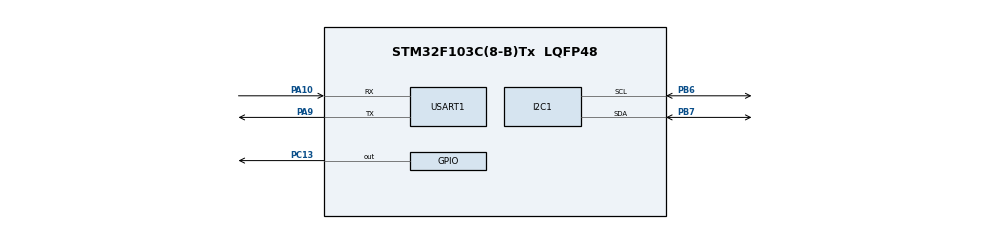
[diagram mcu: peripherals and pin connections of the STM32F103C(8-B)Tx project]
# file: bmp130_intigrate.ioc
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Mcu.Family=STM32F1
Mcu.Name=STM32F103C(8-B)Tx
Mcu.Package=LQFP48
NVIC.PriorityGroup=NVIC_PRIORITYGROUP_4
PA10.Mode=Asynchronous
PA10.Signal=USART1_RX
PA9.Mode=Asynchronous
PA9.Signal=USART1_TX
PB6.Mode=I2C
PB6.Signal=I2C1_SCL
PB7.Mode=I2C
PB7.Signal=I2C1_SDA
PC13-TAMPER-RTC.Signal=GPIO_Output
ProjectManager.HeapSize=0x200
ProjectManager.StackSize=0x400
ProjectManager.TargetToolchain=MDK-ARM V5
RCC.APB1Freq_Value=8000000
RCC.APB2Freq_Value=8000000
USART1.VirtualMode=VM_ASYNC
VP_SYS_VS_ND.Mode=No_Debug
board=bmp130_intigrate

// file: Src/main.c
/**
 ******************************************************************************
  * File Name          : main.c
  * Description        : Main program body
  * Author             : Ashish Kumar Verma
  * Date               : 21-01-2020
  * Contact            : Ashish2614@gmail.com
  ******************************************************************************
  ** This notice applies to any and all portions of this file
  * that are not between comment pairs USER CODE BEGIN and
  * USER CODE END. Other portions of this file, whether
  * inserted by the user or by software development tools
  * are owned by their respective copyright owners.
  *
  * COPYRIGHT(c) 2020 STMicroelectronics
  *
  * Redistribution and use in source and binary forms, with or without modification,
  * are permitted provided that the following conditions are met:
  *   1. Redistributions of source code must retain the above copyright notice,
  *      this list of conditions and the following disclaimer.
  *   2. Redistributions in binary form must reproduce the above copyright notice,
  *      this list of conditions and the following disclaimer in the documentation
  *      and/or other materials provided with the distribution.
  *   3. Neither the name of STMicroelectronics nor the names of its contributors
  *      may be used to endorse or promote products derived from this software
  *      without specific prior written permission.
  *
  * THIS SOFTWARE IS PROVIDED BY THE COPYRIGHT HOLDERS AND CONTRIBUTORS "AS IS"
  * AND ANY EXPRESS OR IMPLIED WARRANTIES, INCLUDING, BUT NOT LIMITED TO, THE
  * IMPLIED WARRANTIES OF MERCHANTABILITY AND FITNESS FOR A PARTICULAR PURPOSE ARE
  * DISCLAIMED. IN NO EVENT SHALL THE COPYRIGHT HOLDER OR CONTRIBUTORS BE LIABLE
  * FOR ANY DIRECT, INDIRECT, INCIDENTAL, SPECIAL, EXEMPLARY, OR CONSEQUENTIAL
  * DAMAGES (INCLUDING, BUT NOT LIMITED TO, PROCUREMENT OF SUBSTITUTE GOODS OR
  * SERVICES; LOSS OF USE, DATA, OR PROFITS; OR BUSINESS INTERRUPTION) HOWEVER
  * CAUSED AND ON ANY THEORY OF LIABILITY, WHETHER IN CONTRACT, STRICT LIABILITY,
  * OR TORT (INCLUDING NEGLIGENCE OR OTHERWISE) ARISING IN ANY WAY OUT OF THE USE
  * OF THIS SOFTWARE, EVEN IF ADVISED OF THE POSSIBILITY OF SUCH DAMAGE.
  *
  ******************************************************************************
  */
#include "main.h"
#include "stm32f1xx_hal.h"
#include "math.h"

/* USER CODE BEGIN Includes */

#define BMP180_ADDR 0xEE                    // 7-bit address
#define BMP180_REG_CONTROL 0xF4
#define BMP180_REG_RESULT 0xF6
#define BMP180_COMMAND_TEMPERATURE 0x2E
#define BMP180_COMMAND_PRESSURE 0x34       //0x34 0x74 0xB4 0xF4
/* USER CODE END Includes */

I2C_HandleTypeDef hi2c1;

UART_HandleTypeDef huart1;

/* USER CODE BEGIN PV */
/* Private variables ---------------------------------------------------------*/

/* USER CODE END PV */

void SystemClock_Config(void);
static void MX_GPIO_Init(void);
static void MX_I2C1_Init(void);
static void MX_USART1_UART_Init(void);

/* USER CODE BEGIN PFP */
/* Private function prototypes -----------------------------------------------*/
char begin(void);
char readCompData(char address);
double calculatePressure(double up,double T);
double calculateTemperature(double ut);
char measureParameters(double *P, double *T);

/* USER CODE END PFP */

/* USER CODE BEGIN 0 */

uint16_t unSignedIntTempVar,AC4,AC5,AC6;
int16_t signedIntTempVar,AC1,AC2,AC3,VB1,VB2,MB,MC,MD;
char buf[20];
double c5,c6,mc,md,x0,x1,x2,y0,y1,y2,p0,p1,p2;

/* USER CODE END 0 */

int main(void)
{

  /* MCU Configuration----------------------------------------------------------*/

  /* Reset of all peripherals, Initializes the Flash interface and the Systick. */
  HAL_Init();

  /* Configure the system clock */
  SystemClock_Config();

  /* Initialize all configured peripherals */
  MX_GPIO_Init();
  MX_I2C1_Init();
  MX_USART1_UART_Init();

  /* USER CODE BEGIN 2 */
	HAL_UART_Transmit(&huart1,(uint8_t*)"REBOOT\r\n",sizeof("REBOOT\r\n"),100);
	if (begin())
			HAL_UART_Transmit(&huart1,(uint8_t*)"BMP180 init success\r\n",sizeof("BMP180 init success\r\n"),100);
  else{
		HAL_UART_Transmit(&huart1,(uint8_t*)"BMP180 init fail\r\n\n",sizeof("BMP180 init fail\r\n\n"),100);
    while(1);
  }

  /* USER CODE END 2 */

  /* Infinite loop */
  while (1)
  {

  /* USER CODE BEGIN 3 */
    double T,P,p0,A;

    if (measureParameters(&P, &T) != 0){

				HAL_UART_Transmit(&huart1,(uint8_t*)"temperature: ",sizeof("temperature: "),100);
			  sprintf(buf,"%0.2lf",T);
        HAL_UART_Transmit(&huart1,(uint8_t*)buf,sizeof(buf),100);
			  HAL_UART_Transmit(&huart1,(uint8_t*)" deg C, ",sizeof(" deg C, "),100);
        sprintf(buf,"%0.2lf",(9.0/5.0)*T+32.0);
				HAL_UART_Transmit(&huart1,(uint8_t*)buf,sizeof(buf),100);
			  HAL_UART_Transmit(&huart1,(uint8_t*)" deg F\r\n",sizeof(" deg F\r\n"),100);

				HAL_UART_Transmit(&huart1,(uint8_t*)"absolute pressure: ",sizeof("absolute pressure: "),100);
			  sprintf(buf,"%0.2lf",P);
        HAL_UART_Transmit(&huart1,(uint8_t*)buf,sizeof(buf),100);
			  HAL_UART_Transmit(&huart1,(uint8_t*)" mb, ",sizeof(" mb, "),100);
        sprintf(buf,"%0.2lf",P*0.0295333727);
				HAL_UART_Transmit(&huart1,(uint8_t*)buf,sizeof(buf),100);
			  HAL_UART_Transmit(&huart1,(uint8_t*)" inHg\r\n",sizeof(" inHg\r\n"),100);

        A = 44330.0*(1-pow(P/1013.25,1/5.255));

				HAL_UART_Transmit(&huart1,(uint8_t*)"computed altitude: ",sizeof("computed altitude: "),100);
			  sprintf(buf,"%0.2lf",A);
        HAL_UART_Transmit(&huart1,(uint8_t*)buf,sizeof(buf),100);
			  HAL_UART_Transmit(&huart1,(uint8_t*)" meters, ",sizeof(" meters, "),100);
        sprintf(buf,"%0.2lf",A*3.28084);
				HAL_UART_Transmit(&huart1,(uint8_t*)buf,sizeof(buf),100);
			  HAL_UART_Transmit(&huart1,(uint8_t*)" feet\r\n",sizeof(" feet\r\n"),100);
			  HAL_UART_Transmit(&huart1,(uint8_t*)"\r\n\n",sizeof("\r\n\n"),100);
    }
    else
				HAL_UART_Transmit(&huart1,(uint8_t*)"error retrieving pressure measurement\n",sizeof("error retrieving pressure measurement\n"),100);
		    HAL_Delay(5000);
  }
  /* USER CODE END 3 */

}

/** System Clock Configuration
*/
void SystemClock_Config(void)
{

  RCC_OscInitTypeDef RCC_OscInitStruct;
  RCC_ClkInitTypeDef RCC_ClkInitStruct;

    /**Initializes the CPU, AHB and APB busses clocks
    */
  RCC_OscInitStruct.OscillatorType = RCC_OSCILLATORTYPE_HSI;
  RCC_OscInitStruct.HSIState = RCC_HSI_ON;
  RCC_OscInitStruct.HSICalibrationValue = 16;
  RCC_OscInitStruct.PLL.PLLState = RCC_PLL_NONE;
  if (HAL_RCC_OscConfig(&RCC_OscInitStruct) != HAL_OK)
  {
    _Error_Handler(__FILE__, __LINE__);
  }

    /**Initializes the CPU, AHB and APB busses clocks
    */
  RCC_ClkInitStruct.ClockType = RCC_CLOCKTYPE_HCLK|RCC_CLOCKTYPE_SYSCLK
                              |RCC_CLOCKTYPE_PCLK1|RCC_CLOCKTYPE_PCLK2;
  RCC_ClkInitStruct.SYSCLKSource = RCC_SYSCLKSOURCE_HSI;
  RCC_ClkInitStruct.AHBCLKDivider = RCC_SYSCLK_DIV1;
  RCC_ClkInitStruct.APB1CLKDivider = RCC_HCLK_DIV1;
  RCC_ClkInitStruct.APB2CLKDivider = RCC_HCLK_DIV1;

  if (HAL_RCC_ClockConfig(&RCC_ClkInitStruct, FLASH_LATENCY_0) != HAL_OK)
  {
    _Error_Handler(__FILE__, __LINE__);
  }

    /**Configure the Systick interrupt time
    */
  HAL_SYSTICK_Config(HAL_RCC_GetHCLKFreq()/1000);

    /**Configure the Systick
    */
  HAL_SYSTICK_CLKSourceConfig(SYSTICK_CLKSOURCE_HCLK);

  /* SysTick_IRQn interrupt configuration */
  HAL_NVIC_SetPriority(SysTick_IRQn, 0, 0);
}

/* I2C1 init function */
static void MX_I2C1_Init(void)
{

  hi2c1.Instance = I2C1;
  hi2c1.Init.ClockSpeed = 100000;
  hi2c1.Init.DutyCycle = I2C_DUTYCYCLE_2;
  hi2c1.Init.OwnAddress1 = 0;
  hi2c1.Init.AddressingMode = I2C_ADDRESSINGMODE_7BIT;
  hi2c1.Init.DualAddressMode = I2C_DUALADDRESS_DISABLE;
  hi2c1.Init.OwnAddress2 = 0;
  hi2c1.Init.GeneralCallMode = I2C_GENERALCALL_DISABLE;
  hi2c1.Init.NoStretchMode = I2C_NOSTRETCH_DISABLE;
  if (HAL_I2C_Init(&hi2c1) != HAL_OK)
  {
    _Error_Handler(__FILE__, __LINE__);
  }

}

/* USART1 init function */
static void MX_USART1_UART_Init(void)
{

  huart1.Instance = USART1;
  huart1.Init.BaudRate = 115200;
  huart1.Init.WordLength = UART_WORDLENGTH_8B;
  huart1.Init.StopBits = UART_STOPBITS_1;
  huart1.Init.Parity = UART_PARITY_NONE;
  huart1.Init.Mode = UART_MODE_TX_RX;
  huart1.Init.HwFlowCtl = UART_HWCONTROL_NONE;
  huart1.Init.OverSampling = UART_OVERSAMPLING_16;
  if (HAL_UART_Init(&huart1) != HAL_OK)
  {
    _Error_Handler(__FILE__, __LINE__);
  }

}

/** Configure pins as
        * Analog
        * Input
        * Output
        * EVENT_OUT
        * EXTI
*/
static void MX_GPIO_Init(void)
{

  GPIO_InitTypeDef GPIO_InitStruct;

  /* GPIO Ports Clock Enable */
  __HAL_RCC_GPIOC_CLK_ENABLE();
  __HAL_RCC_GPIOA_CLK_ENABLE();
  __HAL_RCC_GPIOB_CLK_ENABLE();

  /*Configure GPIO pin Output Level */
  HAL_GPIO_WritePin(GPIOC, GPIO_PIN_13, GPIO_PIN_RESET);

  /*Configure GPIO pin : PC13 */
  GPIO_InitStruct.Pin = GPIO_PIN_13;
  GPIO_InitStruct.Mode = GPIO_MODE_OUTPUT_PP;
  GPIO_InitStruct.Speed = GPIO_SPEED_FREQ_LOW;
  HAL_GPIO_Init(GPIOC, &GPIO_InitStruct);

}

/* USER CODE BEGIN 4 */
char begin(){
  double c3,c4,b1;

  if(readCompData(0xAA))
    AC1=signedIntTempVar;
		HAL_UART_Transmit(&huart1,(uint8_t*)"AC1: ",sizeof("AC1: "),100);
		sprintf(buf,"%d\r\n",AC1);
		HAL_UART_Transmit(&huart1,(uint8_t*)buf,sizeof(buf),100);

	if(readCompData(0xAC))
    AC2=signedIntTempVar;
		HAL_UART_Transmit(&huart1,(uint8_t*)"AC2: ",sizeof("AC2: "),100);
		sprintf(buf,"%d\r\n",AC2);
		HAL_UART_Transmit(&huart1,(uint8_t*)buf,sizeof(buf),100);

	if(readCompData(0xAE))
    AC3=signedIntTempVar;
		HAL_UART_Transmit(&huart1,(uint8_t*)"AC3: ",sizeof("AC3: "),100);
		sprintf(buf,"%d\r\n",AC3);
		HAL_UART_Transmit(&huart1,(uint8_t*)buf,sizeof(buf),100);

	if(readCompData(0xB0))
    AC4=unSignedIntTempVar;
		HAL_UART_Transmit(&huart1,(uint8_t*)"AC4: ",sizeof("AC4: "),100);
		sprintf(buf,"%d\r\n",AC4);
		HAL_UART_Transmit(&huart1,(uint8_t*)buf,sizeof(buf),100);

  if(readCompData(0xB2))
    AC5=unSignedIntTempVar;
		HAL_UART_Transmit(&huart1,(uint8_t*)"AC5: ",sizeof("AC5: "),100);
		sprintf(buf,"%d\r\n",AC5);
		HAL_UART_Transmit(&huart1,(uint8_t*)buf,sizeof(buf),100);

  if(readCompData(0xB4))
    AC6=unSignedIntTempVar;
		HAL_UART_Transmit(&huart1,(uint8_t*)"AC6: ",sizeof("AC6: "),100);
		sprintf(buf,"%d\r\n",AC6);
		HAL_UART_Transmit(&huart1,(uint8_t*)buf,sizeof(buf),100);

  if(readCompData(0xB6))
    VB1=signedIntTempVar;
		HAL_UART_Transmit(&huart1,(uint8_t*)"VB1: ",sizeof("VB1: "),100);
		sprintf(buf,"%d\r\n",VB1);
		HAL_UART_Transmit(&huart1,(uint8_t*)buf,sizeof(buf),100);

  if(readCompData(0xB8))
    VB2=signedIntTempVar;
		HAL_UART_Transmit(&huart1,(uint8_t*)"VB2: ",sizeof("VB2: "),100);
		sprintf(buf,"%d\r\n",VB2);
		HAL_UART_Transmit(&huart1,(uint8_t*)buf,sizeof(buf),100);

  if(readCompData(0xBA))
    MB=signedIntTempVar;
		HAL_UART_Transmit(&huart1,(uint8_t*)"MB: ",sizeof("MB: "),100);
		sprintf(buf,"%d\r\n",MB);
		HAL_UART_Transmit(&huart1,(uint8_t*)buf,sizeof(buf),100);

  if(readCompData(0xBC))
    MC=signedIntTempVar;
		HAL_UART_Transmit(&huart1,(uint8_t*)"MC: ",sizeof("MC: "),100);
		sprintf(buf,"%d\r\n",MC);
		HAL_UART_Transmit(&huart1,(uint8_t*)buf,sizeof(buf),100);

  if(readCompData(0xBE))
    MD=signedIntTempVar;
		HAL_UART_Transmit(&huart1,(uint8_t*)"MD: ",sizeof("MD: "),100);
		sprintf(buf,"%d\r\n",MD);
		HAL_UART_Transmit(&huart1,(uint8_t*)buf,sizeof(buf),100);

		c3 = 160.0 * pow(2,-15) * AC3;
		c4 = pow(10,-3) * pow(2,-15) * AC4;
		b1 = pow(160,2) * pow(2,-30) * VB1;
		c5 = (pow(2,-15) / 160) * AC5;
		c6 = AC6;
		mc = (pow(2,11) / pow(160,2)) * MC;
		md = MD / 160.0;
		x0 = AC1;
		x1 = 160.0 * pow(2,-13) * AC2;
		x2 = pow(160,2) * pow(2,-25) * VB2;
		y0 = c4 * pow(2,15);
		y1 = c4 * c3;
		y2 = c4 * b1;
		p0 = (3791.0 - 8.0) / 1600.0;
		p1 = 1.0 - 7357.0 * pow(2,-20);
		p2 = 3038.0 * 100.0 * pow(2,-36);

  return(1);
}
char readCompData(char address){
  unsigned char data[2];
	if(HAL_I2C_IsDeviceReady(&hi2c1,BMP180_ADDR,5,100))
		{
	   HAL_GPIO_WritePin(GPIOC,GPIO_PIN_13,GPIO_PIN_SET);
		 HAL_Delay(100);
    }
  if((HAL_I2C_Master_Transmit(&hi2c1,BMP180_ADDR,(uint8_t*)&address,1,100))== HAL_OK)
	{
			HAL_I2C_Master_Receive(&hi2c1,BMP180_ADDR,(uint8_t*)&data,2,100);
			signedIntTempVar = (int16_t)((data[0]<<8)|data[1]);
			unSignedIntTempVar = (((uint16_t)data[0]<<8)|(uint16_t)data[1]);
			return(1);
	}
	signedIntTempVar= unSignedIntTempVar= 0;
  return(0);
  }

char writeBytes(unsigned char *values, char length){

	if((HAL_I2C_Master_Transmit(&hi2c1,BMP180_ADDR,values,length,100))== HAL_OK)
    return(1);
  else
    return(0);
}

char measureParameters(double *P, double *T){
  unsigned char data[3],delay1;
  double up,ut;
	uint8_t cmd;

	if(HAL_I2C_IsDeviceReady(&hi2c1,BMP180_ADDR,5,100)){
			 HAL_GPIO_WritePin(GPIOC,GPIO_PIN_13,GPIO_PIN_SET);
			 HAL_Delay(50);
			}

			data[0] = BMP180_REG_CONTROL;
			data[1] = BMP180_COMMAND_TEMPERATURE;
			writeBytes(data, 2);
			HAL_Delay(6);
      cmd = BMP180_REG_RESULT;
	if((HAL_I2C_Master_Transmit(&hi2c1,BMP180_ADDR,(uint8_t*)&cmd,1,100)) == HAL_OK)
{
			HAL_I2C_Master_Receive(&hi2c1,BMP180_ADDR,(uint8_t*)data,2,100);
	    ut = (data[0] * 256.0) + data[1];

			HAL_UART_Transmit(&huart1,(uint8_t*)"ut: ",sizeof("ut: "),100);
			sprintf(buf,"%lf\r\n",ut);
			HAL_UART_Transmit(&huart1,(uint8_t*)buf,sizeof(buf),100);

			*T= calculateTemperature(ut);
			HAL_UART_Transmit(&huart1,(uint8_t*)"T: ",sizeof("T: "),100);
			sprintf(buf,"%lf\r\n",*T);
			HAL_UART_Transmit(&huart1,(uint8_t*)buf,sizeof(buf),100);

}
 else
	 return(0);

			data[0] = BMP180_REG_CONTROL;
			data[1] = BMP180_COMMAND_PRESSURE;
			delay1 = 27;                              //5,8,14,26
			writeBytes(data, 2);
			HAL_Delay(delay1);
      cmd =	BMP180_REG_RESULT;
	if((HAL_I2C_Master_Transmit(&hi2c1,BMP180_ADDR,(uint8_t*)&cmd,1,100))==HAL_OK)
{
			HAL_I2C_Master_Receive(&hi2c1,BMP180_ADDR,(uint8_t*)data,3,100);
			up = (data[0] * 256.0) + data[1] + (data[2]/256.0);
			HAL_UART_Transmit(&huart1,(uint8_t*)"up: ",sizeof("up: "),100);
			sprintf(buf,"%lf\r\n",up);
			HAL_UART_Transmit(&huart1,(uint8_t*)buf,sizeof(buf),100);

			*P = calculatePressure(up,*T);

			HAL_UART_Transmit(&huart1,(uint8_t*)"P: ",sizeof("P: "),100);
			sprintf(buf,"%lf\r\n",*P);
			HAL_UART_Transmit(&huart1,(uint8_t*)buf,sizeof(buf),100);

			return(1);
}

  return(0);
}

double calculateTemperature(double ut){
  double T,a;
  a = c5 * (ut - c6);
  T = a + (mc / (a + md));

  return T;
}
double calculatePressure(double up,double T){
  double P;
  double s,x,y,z;

  s = T - 25.0;
  x = (x2 * pow(s,2)) + (x1 * s) + x0;
  y = (y2 * pow(s,2)) + (y1 * s) + y0;
  z = (up - x) / y;
  P = (p2 * pow(z,2)) + (p1 * z) + p0;

  return P;
}

/* USER CODE END 4 */

void _Error_Handler(char * file, int line)
{
  while(1)
  {
  }
}

/************************ (C) COPYRIGHT STMicroelectronics *****END OF FILE****/
